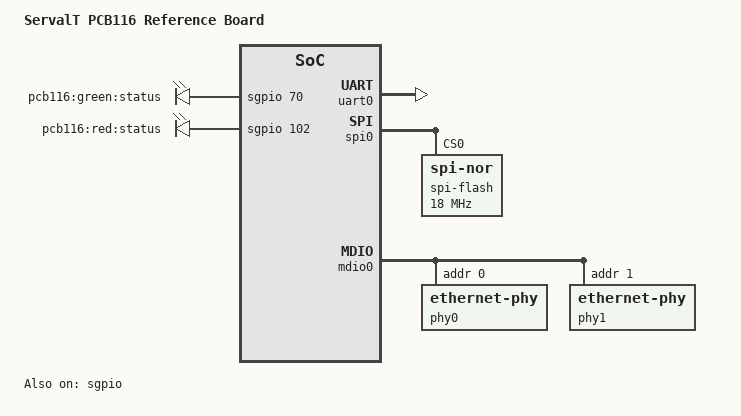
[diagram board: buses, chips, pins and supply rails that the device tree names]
// SPDX-License-Identifier: (GPL-2.0+ OR MIT)
/*
 * Copyright (c) 2018 Microsemi Corporation
 */

/dts-v1/;
#include "mscc,servalt.dtsi"

/ {
	model = "ServalT PCB116 Reference Board";
	compatible = "mscc,servalt-pcb116", "mscc,servalt";

	aliases {
		spi0 = &spi0;
		serial0 = &uart0;
	};

	chosen {
		stdout-path = "serial0:115200n8";
	};

	gpio-leds {
		compatible = "gpio-leds";

		status_green {
			label = "pcb116:green:status";
			gpios = <&sgpio 70 0>; /* p6.2 */
			default-state = "on";
		};

		status_red {
			label = "pcb116:red:status";
			gpios = <&sgpio 102 0>; /* p6.3 */
			default-state = "off";
		};
	};
};

&uart0 {
	status = "okay";
};

&spi0 {
	status = "okay";
	spi-flash@0 {
		compatible = "jedec,spi-nor";
		spi-max-frequency = <18000000>; /* input clock */
		reg = <0>; /* CS0 */
		spi-cs-high;
	};
};

&sgpio {
	status = "okay";
	sgpio-ports = <0x0000fe7f>;
};

&mdio0 {
	status = "okay";

	phy0: ethernet-phy@0 {
		reg = <0>;
	};
	phy1: ethernet-phy@1 {
		reg = <1>;
	};
};

&switch {
	ethernet-ports {

		port0: port@0 {
			reg = <0>;
			phy-handle = <&phy0>;
		};
		port1: port@1 {
			reg = <1>;
			phy-handle = <&phy1>;
		};
	};
};
